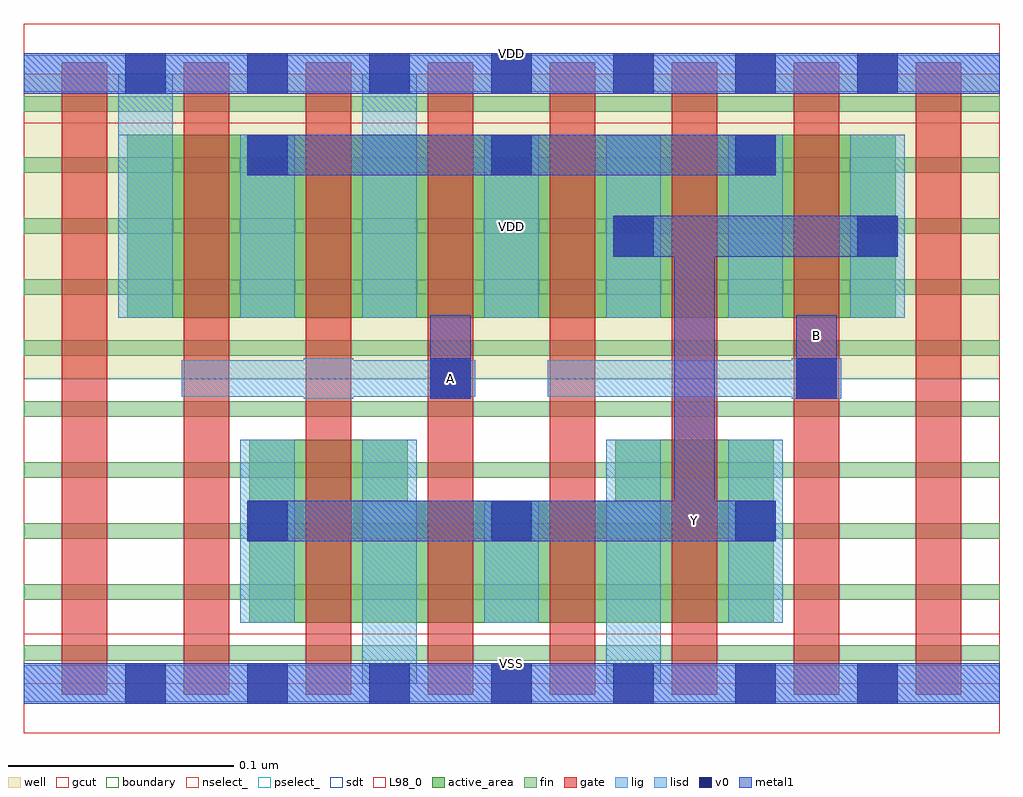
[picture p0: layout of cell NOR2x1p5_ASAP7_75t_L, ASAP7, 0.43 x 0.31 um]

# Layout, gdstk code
import gdstk
lib = gdstk.Library(unit=1e-6, precision=2.5e-10)
def R(c, l, rs):  # rectangles x0, y0, x1, y1
    for r in rs: c.add(gdstk.rectangle(r[:2], r[2:], *l))
def A(c, l, x, y, w, h, nx, ny, dx, dy):  # array of equal rectangles
    R(c, l, [(x+i*dx, y+j*dy, x+i*dx+w, y+j*dy+h) for i in range(nx) for j in range(ny)])
def P(c, l, *ps):  # polygons
    for p in ps: c.add(gdstk.Polygon(p, *l))
well = (1, 0)
fin = (2, 0)
gate = (7, 0)
gcut = (10, 0)
active_area = (11, 0)
nselect_ = (12, 0)
pselect_ = (13, 0)
lig = (16, 0)
lisd = (17, 0)
v0 = (18, 0)
metal1 = (19, 0)
sdt = (88, 0)
L98_0 = (98, 0)
boundary = (100, 0)

nor2x1p5_asap7_75t_l = lib.new_cell('NOR2x1p5_ASAP7_75t_L')
R(nor2x1p5_asap7_75t_l, well, [(0,0.135,0.432,0.27)])
A(nor2x1p5_asap7_75t_l, fin, 0, 0.01, 0.432, 0.007, 1, 10, 0, 0.027)
A(nor2x1p5_asap7_75t_l, gate, 0.017, -0.005, 0.02, 0.28, 8, 1, 0.054, 0)
R(nor2x1p5_asap7_75t_l, gcut, [(0,-0.022,0.432,0.022), (0,0.248,0.432,0.292)])
R(nor2x1p5_asap7_75t_l, active_area, [(0.046,0.162,0.386,0.243)])
P(nor2x1p5_asap7_75t_l, active_area, [(0.332,0.108),(0.262,0.108),(0.262,0.081),(0.17,0.081),(0.17,0.108),(0.1,0.108),(0.1,0.027),(0.332,0.027)])
R(nor2x1p5_asap7_75t_l, nselect_, [(0,0,0.432,0.135)])
R(nor2x1p5_asap7_75t_l, pselect_, [(0,0.135,0.432,0.27)])
R(nor2x1p5_asap7_75t_l, lig, [(0,-0.008,0.432,0.008), (0.124,0.126,0.146,0.144), (0.34,0.126,0.362,0.144), (0.07,0.127,0.2,0.143), (0.232,0.127,0.362,0.143), (0,0.262,0.432,0.278)])
A(nor2x1p5_asap7_75t_l, lisd, 0.204, 0.162, 0.024, 0.081, 4, 1, 0.054, 0)
R(nor2x1p5_asap7_75t_l, lisd, [(0.15,0,0.174,0.108), (0.15,0,0.174,0.108), (0.258,0,0.282,0.108), (0.258,0,0.282,0.108), (0.096,0.027,0.12,0.108), (0.204,0.027,0.228,0.081), (0.312,0.027,0.336,0.108), (0.042,0.162,0.066,0.27), (0.042,0.162,0.066,0.27), (0.096,0.162,0.12,0.243), (0.15,0.162,0.174,0.27), (0.15,0.162,0.174,0.27)])
A(nor2x1p5_asap7_75t_l, v0, 0.045, -0.009, 0.018, 0.018, 7, 2, 0.054, 0.27)
A(nor2x1p5_asap7_75t_l, v0, 0.099, 0.063, 0.018, 0.018, 3, 2, 0.108, 0.162)
R(nor2x1p5_asap7_75t_l, v0, [(0.18,0.126,0.198,0.144), (0.342,0.126,0.36,0.144), (0.261,0.189,0.279,0.207), (0.369,0.189,0.387,0.207)])
A(nor2x1p5_asap7_75t_l, metal1, 0.099, 0.063, 0.018, 0.018, 3, 2, 0.108, 0.162)
R(nor2x1p5_asap7_75t_l, metal1, [(0,-0.009,0.432,0.009), (0.18,0.126,0.198,0.144), (0.18,0.126,0.198,0.163), (0.342,0.126,0.36,0.144), (0.342,0.126,0.36,0.163), (0.261,0.189,0.279,0.207), (0.369,0.189,0.387,0.207), (0.099,0.225,0.333,0.243), (0,0.261,0.432,0.279)])
P(nor2x1p5_asap7_75t_l, metal1, [(0.387,0.207),(0.261,0.207),(0.261,0.189),(0.288,0.189),(0.288,0.081),(0.099,0.081),(0.099,0.063),(0.333,0.063),(0.333,0.081),(0.306,0.081),(0.306,0.189),(0.387,0.189)])
A(nor2x1p5_asap7_75t_l, sdt, 0.042, 0.162, 0.024, 0.081, 3, 1, 0.054, 0)
A(nor2x1p5_asap7_75t_l, sdt, 0.15, 0.162, 0.024, 0.081, 5, 1, 0.054, 0)
R(nor2x1p5_asap7_75t_l, sdt, [(0.096,0.027,0.12,0.108), (0.15,0.027,0.174,0.108), (0.15,0.027,0.174,0.108), (0.204,0.027,0.228,0.081), (0.258,0.027,0.282,0.108), (0.258,0.027,0.282,0.108), (0.312,0.027,0.336,0.108), (0.042,0.162,0.066,0.243)])
R(nor2x1p5_asap7_75t_l, L98_0, [(0,0,0.432,0.27)])
R(nor2x1p5_asap7_75t_l, boundary, [(0,0,0.432,0.27)])
nor2x1p5_asap7_75t_l.add(gdstk.Label('VDD', (0.216,0.2025), layer=1, texttype=251))
nor2x1p5_asap7_75t_l.add(gdstk.Label('VSS', (0.216,-0.0675), layer=3, texttype=251))
nor2x1p5_asap7_75t_l.add(gdstk.Label('VSS', (0.216,0.009), layer=19, texttype=251))
nor2x1p5_asap7_75t_l.add(gdstk.Label('VDD', (0.216,0.279), layer=19, texttype=251))
nor2x1p5_asap7_75t_l.add(gdstk.Label('A', (0.189,0.135), layer=19, texttype=251))
nor2x1p5_asap7_75t_l.add(gdstk.Label('Y', (0.297,0.072), layer=19, texttype=251))
nor2x1p5_asap7_75t_l.add(gdstk.Label('B', (0.351,0.154), layer=19, texttype=251))

lib.write_gds('NOR2x1p5_ASAP7_75t_L.gds')
